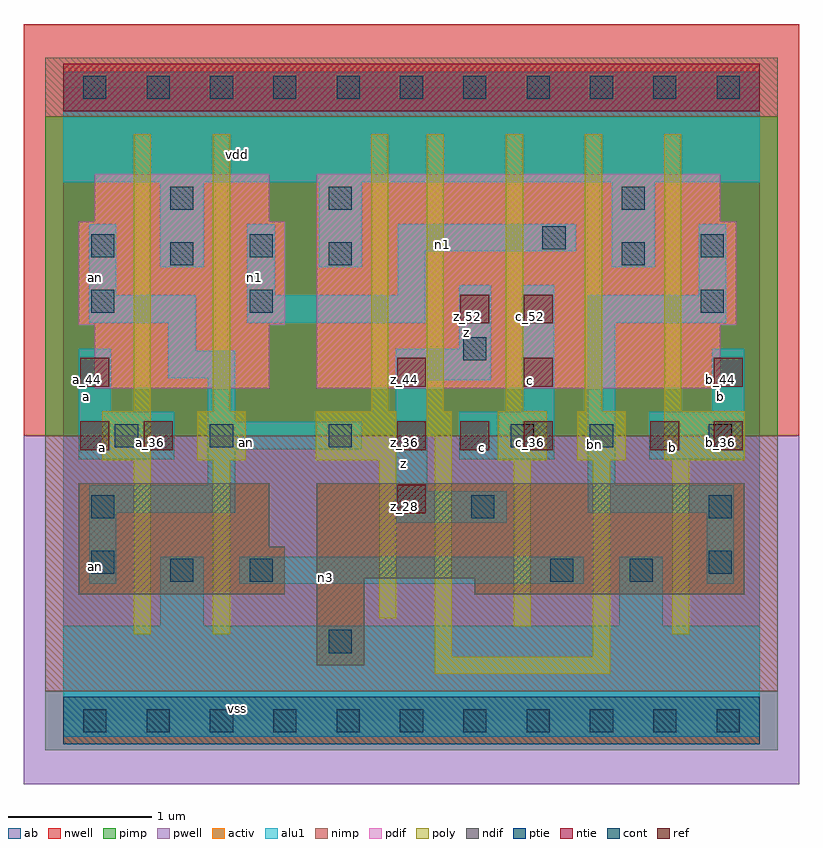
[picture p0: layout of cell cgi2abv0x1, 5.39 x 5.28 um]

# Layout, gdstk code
import gdstk
lib = gdstk.Library(unit=1e-6, precision=2.5e-09)
def R(c, l, rs):  # rectangles x0, y0, x1, y1
    for r in rs: c.add(gdstk.rectangle(r[:2], r[2:], *l))
def A(c, l, x, y, w, h, nx, ny, dx, dy):  # array of equal rectangles
    R(c, l, [(x+i*dx, y+j*dy, x+i*dx+w, y+j*dy+h) for i in range(nx) for j in range(ny)])
ndif = (3, 0)
pdif = (4, 0)
ntie = (5, 0)
ptie = (6, 0)
ref = (24, 0)
cont = (25, 0)
pwell = (41, 0)
nwell = (42, 0)
activ = (43, 0)
pimp = (44, 0)
nimp = (45, 0)
poly = (46, 0)
alu1 = (49, 0)
ab = (63, 0)

cgi2abv0x1 = lib.new_cell('cgi2abv0x1')
R(cgi2abv0x1, ndif, [(1.76,0.385,2.09,0.99), (0.11,0.88,1.54,1.21), (2.86,0.88,4.73,0.99), (1.76,0.99,4.73,1.65), (0.11,1.21,1.43,1.65)])
R(cgi2abv0x1, pdif, [(0.22,2.31,1.43,2.75), (1.76,2.31,4.565,2.75), (0.11,2.75,1.54,3.465), (1.76,2.75,4.675,3.465), (0.22,3.465,1.43,3.795), (1.76,3.465,4.565,3.795)])
R(cgi2abv0x1, ntie, [(0,4.235,4.84,4.565)])
R(cgi2abv0x1, ptie, [(0,-0.165,4.84,0.165)])
A(cgi2abv0x1, ref, 2.32, 1.88, 0.2, 0.2, 3, 1, 0.44, 0)
R(cgi2abv0x1, ref, [(2.32,1.44,2.52,1.64), (0.12,1.88,0.32,2.08), (0.56,1.88,0.76,2.08), (4.08,1.88,4.28,2.08), (4.52,1.88,4.72,2.08), (0.12,2.32,0.32,2.52), (2.32,2.32,2.52,2.52), (3.2,2.32,3.4,2.52), (4.52,2.32,4.72,2.52), (2.76,2.76,2.96,2.96), (3.2,2.76,3.4,2.96)])
A(cgi2abv0x1, cont, 0.14, -0.08, 0.16, 0.16, 11, 2, 0.44, 4.4)
R(cgi2abv0x1, cont, [(1.845,0.47,2.005,0.63), (0.745,0.965,0.905,1.125), (1.295,0.965,1.455,1.125), (3.385,0.965,3.545,1.125), (3.935,0.965,4.095,1.125), (0.195,1.02,0.355,1.18), (4.485,1.02,4.645,1.18), (0.195,1.405,0.355,1.565), (2.835,1.405,2.995,1.565), (4.485,1.405,4.645,1.565), (0.36,1.9,0.52,2.06), (1.02,1.9,1.18,2.06), (1.845,1.9,2.005,2.06), (3.11,1.9,3.27,2.06), (3.66,1.9,3.82,2.06), (4.485,1.9,4.645,2.06), (2.78,2.505,2.94,2.665), (0.195,2.835,0.355,2.995), (1.295,2.835,1.455,2.995), (4.43,2.835,4.59,2.995), (0.745,3.165,0.905,3.325), (1.845,3.165,2.005,3.325), (3.88,3.165,4.04,3.325), (0.195,3.22,0.355,3.38), (1.295,3.22,1.455,3.38), (4.43,3.22,4.59,3.38), (3.33,3.275,3.49,3.435), (0.745,3.55,0.905,3.71), (1.845,3.55,2.005,3.71), (3.88,3.55,4.04,3.71)])
R(cgi2abv0x1, pwell, [(-0.275,-0.44,5.115,1.98)])
R(cgi2abv0x1, nwell, [(-0.275,1.98,5.115,4.84)])
R(cgi2abv0x1, activ, [(0,-0.165,4.84,0.165), (1.76,0.385,2.09,0.99), (0.11,0.88,1.54,1.21), (2.86,0.88,4.73,0.99), (1.76,0.99,4.73,1.65), (0.11,1.21,1.43,1.65), (0.22,2.31,1.43,2.75), (1.76,2.31,4.565,2.75), (0.11,2.75,1.54,3.465), (1.76,2.75,4.675,3.465), (0.22,3.465,1.43,3.795), (1.76,3.465,4.565,3.795), (0,4.235,4.84,4.565)])
R(cgi2abv0x1, pimp, [(-0.125,-0.205,4.965,0.205), (-0.125,1.98,4.965,4.195)])
R(cgi2abv0x1, nimp, [(-0.125,0.205,4.965,1.98), (-0.125,4.195,4.965,4.605)])
A(cgi2abv0x1, poly, 2.525, 2.15, 0.12, 1.925, 4, 1, 0.55, 0)
R(cgi2abv0x1, poly, [(2.58,0.325,3.8,0.445), (2.58,0.445,2.7,1.975), (3.68,0.445,3.8,1.81), (0.49,0.6,0.61,1.81), (1.04,0.6,1.16,1.81), (4.23,0.6,4.35,1.81), (3.13,0.655,3.25,1.81), (2.195,0.71,2.315,1.81), (0.27,1.81,0.61,2.15), (0.93,1.81,1.27,2.15), (1.755,1.81,2.315,2.15), (3.02,1.81,3.36,2.15), (3.57,1.81,3.91,2.15), (4.175,1.81,4.735,2.15), (2.525,1.975,2.7,2.15), (0.49,2.15,0.61,4.075), (1.04,2.15,1.16,4.075), (2.14,2.15,2.26,4.075)])
R(cgi2abv0x1, alu1, [(0,-0.11,4.84,0.66), (0.675,0.66,0.975,1.14), (3.865,0.66,4.165,1.14), (0.18,0.95,0.37,1.445), (1.225,0.95,3.615,1.14), (4.47,0.95,4.66,1.445), (2.31,1.375,3.08,1.595), (0.18,1.445,1.195,1.635), (3.645,1.445,4.66,1.635), (2.31,1.595,2.53,2.365), (1.005,1.635,1.195,1.885), (3.645,1.635,3.835,2.765), (0.11,1.815,0.77,2.145), (2.75,1.815,3.41,2.145), (4.07,1.815,4.73,2.145), (1.005,1.885,2.075,2.075), (1.005,2.075,1.195,2.38), (0.11,2.145,0.33,2.585), (3.19,2.145,3.41,3.025), (4.51,2.145,4.73,2.585), (2.31,2.365,2.97,2.585), (0.73,2.38,1.195,2.57), (0.73,2.57,0.92,2.765), (2.75,2.585,2.97,3.025), (0.18,2.765,0.92,2.955), (1.28,2.765,2.515,2.955), (3.645,2.765,4.605,2.955), (0.18,2.955,0.37,3.45), (1.28,2.955,1.47,3.45), (2.325,2.955,2.515,3.26), (4.415,2.955,4.605,3.45), (0.675,3.15,0.975,3.74), (1.775,3.15,2.075,3.74), (3.81,3.15,4.11,3.74), (2.325,3.26,3.56,3.45), (0,3.74,4.84,4.51)])
R(cgi2abv0x1, ab, [(0,0,4.84,4.4)])
cgi2abv0x1.add(gdstk.Label('vss', (1.21,0.0825), layer=49, texttype=0))
cgi2abv0x1.add(gdstk.Label('n3', (1.8225,0.9975), layer=49, texttype=0))
cgi2abv0x1.add(gdstk.Label('an', (0.2275,1.0725), layer=49, texttype=0))
cgi2abv0x1.add(gdstk.Label('b', (4.235,1.8975), layer=49, texttype=0))
cgi2abv0x1.add(gdstk.Label('b', (4.565,2.255), layer=49, texttype=0))
cgi2abv0x1.add(gdstk.Label('bn', (3.6925,1.9175), layer=49, texttype=0))
cgi2abv0x1.add(gdstk.Label('c', (2.915,1.8975), layer=49, texttype=0))
cgi2abv0x1.add(gdstk.Label('c', (3.245,2.365), layer=49, texttype=0))
cgi2abv0x1.add(gdstk.Label('z', (2.365,1.7875), layer=49, texttype=0))
cgi2abv0x1.add(gdstk.Label('an', (1.2725,1.9325), layer=49, texttype=0))
cgi2abv0x1.add(gdstk.Label('a', (0.275,1.8975), layer=49, texttype=0))
cgi2abv0x1.add(gdstk.Label('z', (2.805,2.695), layer=49, texttype=0))
cgi2abv0x1.add(gdstk.Label('a', (0.165,2.255), layer=49, texttype=0))
cgi2abv0x1.add(gdstk.Label('n1', (2.6325,3.3075), layer=49, texttype=0))
cgi2abv0x1.add(gdstk.Label('n1', (1.3275,3.0775), layer=49, texttype=0))
cgi2abv0x1.add(gdstk.Label('an', (0.2275,3.0775), layer=49, texttype=0))
cgi2abv0x1.add(gdstk.Label('vdd', (1.21,3.9325), layer=49, texttype=0))
cgi2abv0x1.add(gdstk.Label('a_36', (0.61,1.93), layer=24, texttype=0))
cgi2abv0x1.add(gdstk.Label('a_36', (0.17,1.93), layer=24, texttype=0))
cgi2abv0x1.add(gdstk.Label('a_44', (0.17,2.37), layer=24, texttype=0))
cgi2abv0x1.add(gdstk.Label('z_28', (2.37,1.49), layer=24, texttype=0))
cgi2abv0x1.add(gdstk.Label('z_36', (2.37,1.93), layer=24, texttype=0))
cgi2abv0x1.add(gdstk.Label('z_44', (2.37,2.37), layer=24, texttype=0))
cgi2abv0x1.add(gdstk.Label('c_36', (2.81,1.93), layer=24, texttype=0))
cgi2abv0x1.add(gdstk.Label('z_52', (2.81,2.81), layer=24, texttype=0))
cgi2abv0x1.add(gdstk.Label('c_36', (3.25,1.93), layer=24, texttype=0))
cgi2abv0x1.add(gdstk.Label('c_44', (3.25,2.37), layer=24, texttype=0))
cgi2abv0x1.add(gdstk.Label('c_52', (3.25,2.81), layer=24, texttype=0))
cgi2abv0x1.add(gdstk.Label('b_36', (4.13,1.93), layer=24, texttype=0))
cgi2abv0x1.add(gdstk.Label('b_36', (4.57,1.93), layer=24, texttype=0))
cgi2abv0x1.add(gdstk.Label('b_44', (4.57,2.37), layer=24, texttype=0))

lib.write_gds('cgi2abv0x1.gds')
